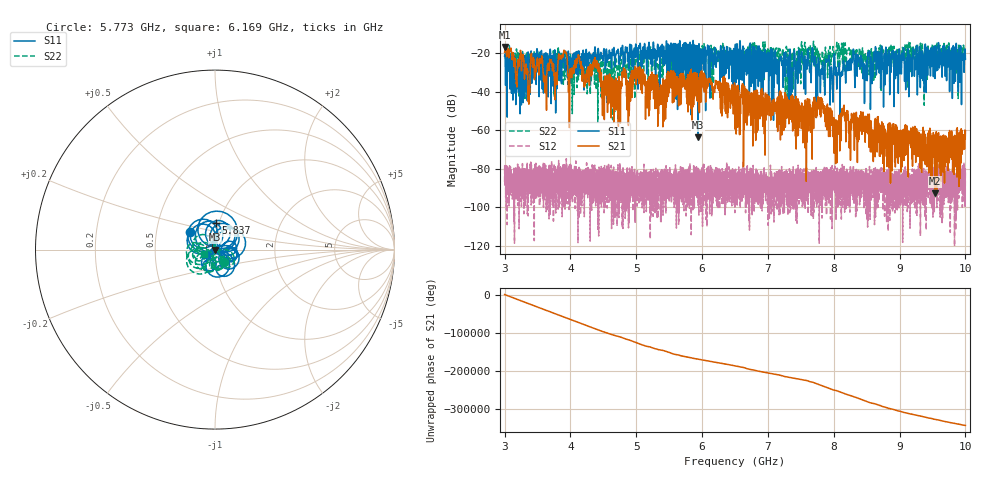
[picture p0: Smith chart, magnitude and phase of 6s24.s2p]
!Agilent Technologies,E8363B,MY43030572,A.06.04.32
!Agilent E8363B: A.06.04.32
!Date: Tuesday, June 07, 2011 08:35:29
!Correction: S11(Full 2 Port(1,2)) S21(Full 2 Port(1,2)) S12(Full 2 Port(1,2)) S22(Full 2 Port(1,2))
!S2P File: Measurements: S11, S21, S12, S22:
# Hz S  dB  R 50
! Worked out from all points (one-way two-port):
!   6401 points, 3 GHz to 10 GHz, reference 50 ohm
!   highest |S21| = -16.82 dB at 3.011 GHz (marker M1); lowest = -92.8 dB at 9.542 GHz (marker M2)
!   lowest |S11| = -63.7 dB at 5.941 GHz (marker M3), VSWR 1.00, Z = 50 - j0.0646 ohm
!   |S11| at or under -10 dB: start of sweep to end of sweep
!   |S22| runs from -56.7 to -13.8 dB; largest |S21 - S12| = 0.14
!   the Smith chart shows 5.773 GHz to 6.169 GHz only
!   S11 on the Smith chart (normalised r, x): 5.773 GHz: 0.74, +0.15; 5.837 GHz: 0.96, +0.29; 6.169 GHz: 0.91, -0.05
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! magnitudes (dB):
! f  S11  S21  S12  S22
! 3 GHz  -21.5  -19.5  -86.8  -16.6
! 3.011 GHz  -27.1  -16.8  -85.8  -21.7
! 3.353 GHz  -20.5  -34.1  -91.0  -28.5
! 3.421 GHz  -21.7  -26.2  -92.0  -21.6
! 3.778 GHz  -32.7  -31.1  -83.4  -38.8
! 3.908 GHz  -23.8  -19.2  -84.4  -24.3
! 3.993 GHz  -22.6  -29.4  -96.1  -21.2
! 4.167 GHz  -21.3  -27.8  -91.9  -25.0
! 4.401 GHz  -22.5  -26.7  -91.6  -23.0
! 4.508 GHz  -17.6  -37.1  -82.2  -38.5
! 4.999 GHz  -17.9  -31.4  -91.3  -24.2
! 5.334 GHz  -19.4  -36.5  -86.2  -26.7
! 5.773 GHz  -15.4  -35.5  -85.3  -21.4
! 5.837 GHz  -16.5  -34.5  -85.5  -26.7
! 5.941 GHz  -63.7  -34.8  -84.3  -28.5
! 6.169 GHz  -24.8  -43.4  -84.6  -23.7
! 6.5 GHz  -18.6  -37.5  -93.4  -22.7
! 7.667 GHz  -19.3  -49.1  -88.8  -17.2
! 7.967 GHz  -27.7  -54.7  -88.3  -20.8
! 8.834 GHz  -19.1  -57.4  -89.3  -21.4
! 9.542 GHz  -20.6  -92.8  -92.9  -16.0
! 10 GHz  -23.1  -60.5  -81.1  -21.4
